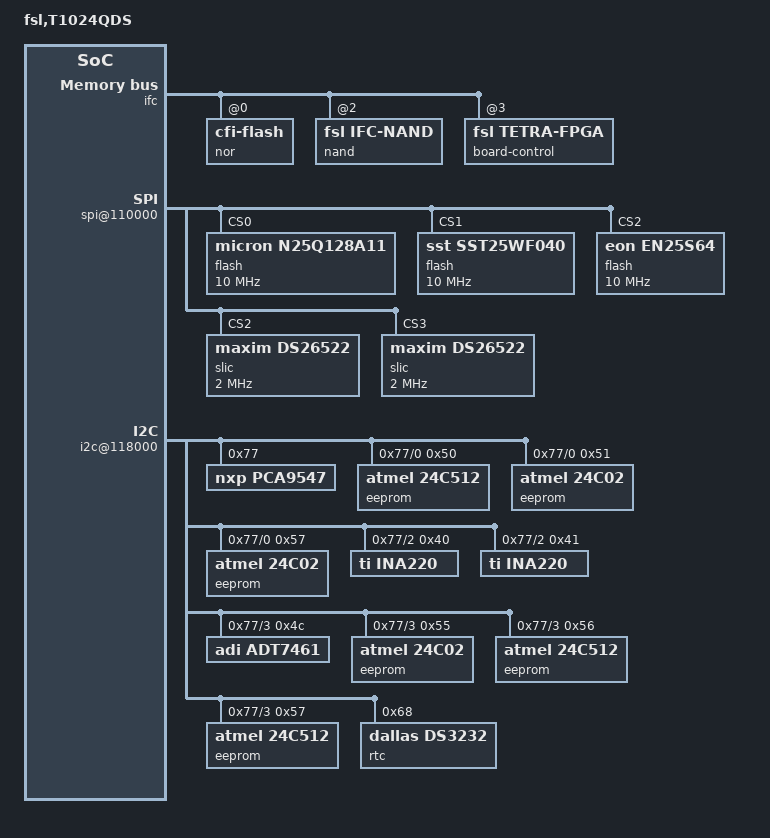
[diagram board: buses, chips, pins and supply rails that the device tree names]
/*
 * T1024 QDS Device Tree Source
 *
 * Copyright 2014 Freescale Semiconductor Inc.
 *
 * Redistribution and use in source and binary forms, with or without
 * modification, are permitted provided that the following conditions are met:
 *     * Redistributions of source code must retain the above copyright
 *	 notice, this list of conditions and the following disclaimer.
 *     * Redistributions in binary form must reproduce the above copyright
 *	 notice, this list of conditions and the following disclaimer in the
 *	 documentation and/or other materials provided with the distribution.
 *     * Neither the name of Freescale Semiconductor nor the
 *	 names of its contributors may be used to endorse or promote products
 *	 derived from this software without specific prior written permission.
 *
 *
 * ALTERNATIVELY, this software may be distributed under the terms of the
 * GNU General Public License ("GPL") as published by the Free Software
 * Foundation, either version 2 of that License or (at your option) any
 * later version.
 *
 * THIS SOFTWARE IS PROVIDED BY Freescale Semiconductor "AS IS" AND ANY
 * EXPRESS OR IMPLIED WARRANTIES, INCLUDING, BUT NOT LIMITED TO, THE IMPLIED
 * WARRANTIES OF MERCHANTABILITY AND FITNESS FOR A PARTICULAR PURPOSE ARE
 * DISCLAIMED. IN NO EVENT SHALL Freescale Semiconductor BE LIABLE FOR ANY
 * DIRECT, INDIRECT, INCIDENTAL, SPECIAL, EXEMPLARY, OR CONSEQUENTIAL DAMAGES
 * (INCLUDING, BUT NOT LIMITED TO, PROCUREMENT OF SUBSTITUTE GOODS OR SERVICES;
 * LOSS OF USE, DATA, OR PROFITS; OR BUSINESS INTERRUPTION) HOWEVER CAUSED AND
 * ON ANY THEORY OF LIABILITY, WHETHER IN CONTRACT, STRICT LIABILITY, OR TORT
 * (INCLUDING NEGLIGENCE OR OTHERWISE) ARISING IN ANY WAY OUT OF THE USE OF THIS
 * SOFTWARE, EVEN IF ADVISED OF THE POSSIBILITY OF SUCH DAMAGE.
 */

/include/ "t102xsi-pre.dtsi"

/ {
	model = "fsl,T1024QDS";
	compatible = "fsl,T1024QDS";
	#address-cells = <2>;
	#size-cells = <2>;
	interrupt-parent = <&mpic>;

	ifc: localbus@ffe124000 {
		reg = <0xf 0xfe124000 0 0x2000>;
		ranges = <0 0 0xf 0xe8000000 0x08000000
			  2 0 0xf 0xff800000 0x00010000
			  3 0 0xf 0xffdf0000 0x00008000>;

		nor@0,0 {
			#address-cells = <1>;
			#size-cells = <1>;
			compatible = "cfi-flash";
			reg = <0x0 0x0 0x8000000>;
			bank-width = <2>;
			device-width = <1>;
		};

		nand@2,0 {
			#address-cells = <1>;
			#size-cells = <1>;
			compatible = "fsl,ifc-nand";
			reg = <0x2 0x0 0x10000>;
		};

		board-control@3,0 {
			#address-cells = <1>;
			#size-cells = <1>;
			compatible = "fsl,tetra-fpga", "fsl,fpga-qixis";
			reg = <3 0 0x300>;
			ranges = <0 3 0 0x300>;
		};
	};

	memory {
		device_type = "memory";
	};

	dcsr: dcsr@f00000000 {
		ranges = <0x00000000 0xf 0x00000000 0x01072000>;
	};

	soc: soc@ffe000000 {
		ranges = <0x00000000 0xf 0xfe000000 0x1000000>;
		reg = <0xf 0xfe000000 0 0x00001000>;
		spi@110000 {
			flash@0 {
				#address-cells = <1>;
				#size-cells = <1>;
				compatible = "micron,n25q128a11", "jedec,spi-nor";  /* 16MB */
				reg = <0>;
				spi-max-frequency = <10000000>;
			};

			flash@1 {
				#address-cells = <1>;
				#size-cells = <1>;
				compatible = "sst,sst25wf040", "jedec,spi-nor";  /* 512KB */
				reg = <1>;
				spi-max-frequency = <10000000>;
			};

			flash@2 {
				#address-cells = <1>;
				#size-cells = <1>;
				compatible = "eon,en25s64", "jedec,spi-nor";   /* 8MB */
				reg = <2>;
				spi-max-frequency = <10000000>;
			};

			slic@2 {
				compatible = "maxim,ds26522";
				reg = <2>;
				spi-max-frequency = <2000000>;
			};

			slic@3 {
				compatible = "maxim,ds26522";
				reg = <3>;
				spi-max-frequency = <2000000>;
			};
		};

		i2c@118000 {
			pca9547@77 {
				compatible = "nxp,pca9547";
				reg = <0x77>;
				#address-cells = <1>;
				#size-cells = <0>;

				i2c@0 {
					#address-cells = <1>;
					#size-cells = <0>;
					reg = <0x0>;

					eeprom@50 {
						compatible = "atmel,24c512";
						reg = <0x50>;
					};

					eeprom@51 {
						compatible = "atmel,24c02";
						reg = <0x51>;
					};

					eeprom@57 {
						compatible = "atmel,24c02";
						reg = <0x57>;
					};
				};

				i2c@2 {
					#address-cells = <1>;
					#size-cells = <0>;
					reg = <0x2>;

					ina220@40 {
						compatible = "ti,ina220";
						reg = <0x40>;
						shunt-resistor = <1000>;
					};

					ina220@41 {
						compatible = "ti,ina220";
						reg = <0x41>;
						shunt-resistor = <1000>;
					};
				};

				i2c@3 {
					#address-cells = <1>;
					#size-cells = <0>;
					reg = <0x3>;

					adt7461@4c {
						/* Thermal Monitor */
						compatible = "adi,adt7461";
						reg = <0x4c>;
					};

					eeprom@55 {
						compatible = "atmel,24c02";
						reg = <0x55>;
					};

					eeprom@56 {
						compatible = "atmel,24c512";
						reg = <0x56>;
					};

					eeprom@57 {
						compatible = "atmel,24c512";
						reg = <0x57>;
					};
				};
			};
			rtc@68 {
				compatible = "dallas,ds3232";
				reg = <0x68>;
				interrupts = <0x5 0x1 0 0>;
			};
		};
	};

	pci0: pcie@ffe240000 {
		reg = <0xf 0xfe240000 0 0x10000>;
		ranges = <0x02000000 0 0xe0000000 0xc 0x00000000 0 0x10000000
			  0x01000000 0 0x00000000 0xf 0xf8000000 0 0x00010000>;
		pcie@0 {
			ranges = <0x02000000 0 0xe0000000
				  0x02000000 0 0xe0000000
				  0 0x10000000

				  0x01000000 0 0x00000000
				  0x01000000 0 0x00000000
				  0 0x00010000>;
		};
	};

	pci1: pcie@ffe250000 {
		reg = <0xf 0xfe250000 0 0x10000>;
		ranges = <0x02000000 0 0xe0000000 0xc 0x10000000 0 0x10000000
			  0x01000000 0 0x00000000 0xf 0xf8010000 0 0x00010000>;
		pcie@0 {
			ranges = <0x02000000 0 0xe0000000
				  0x02000000 0 0xe0000000
				  0 0x10000000

				  0x01000000 0 0x00000000
				  0x01000000 0 0x00000000
				  0 0x00010000>;
		};
	};

	pci2: pcie@ffe260000 {
		reg = <0xf 0xfe260000 0 0x10000>;
		ranges = <0x02000000 0 0xe0000000 0xc 0x20000000 0 0x10000000
			  0x01000000 0 0x00000000 0xf 0xf8020000 0 0x00010000>;
		pcie@0 {
			ranges = <0x02000000 0 0xe0000000
				  0x02000000 0 0xe0000000
				  0 0x10000000

				  0x01000000 0 0x00000000
				  0x01000000 0 0x00000000
				  0 0x00010000>;
		};
	};
};

#include "t1024si-post.dtsi"
